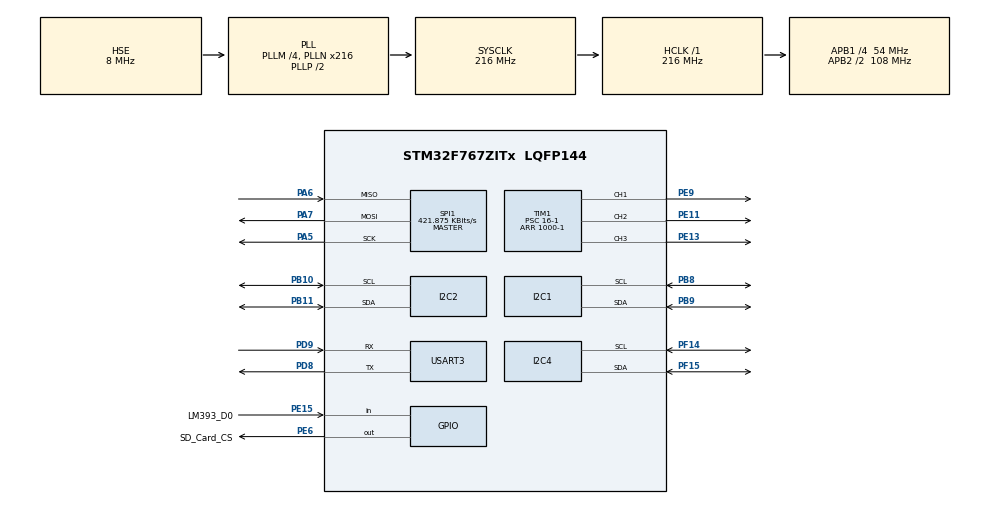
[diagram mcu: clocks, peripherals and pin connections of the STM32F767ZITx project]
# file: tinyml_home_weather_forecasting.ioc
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CORTEX_M7.CPU_DCache=Enabled
CORTEX_M7.CPU_ICache=Enabled
CORTEX_M7.default_mode_Activation=1
FATFS._FS_LOCK=10
FATFS._USE_LABEL=1
FATFS._USE_LFN=2
FATFS._USE_MKFS=0
FREERTOS.Tasks01=defaultTask,8,512,StartDefaultTask,Default,NULL,Dynamic,NULL,NULL
FREERTOS.configTOTAL_HEAP_SIZE=64000
FREERTOS.configUSE_NEWLIB_REENTRANT=1
Mcu.Family=STM32F7
Mcu.Name=STM32F767ZITx
Mcu.Package=LQFP144
NVIC.PriorityGroup=NVIC_PRIORITYGROUP_4
NVIC.TIM8_TRG_COM_TIM14_IRQn=true\:15\:0\:false\:false\:true\:false\:false\:true\:true
NVIC.TimeBase=TIM8_TRG_COM_TIM14_IRQn
NVIC.TimeBaseIP=TIM14
PA13.Mode=Trace_Asynchronous_SW
PA13.Signal=SYS_JTMS-SWDIO
PA14.Mode=Trace_Asynchronous_SW
PA14.Signal=SYS_JTCK-SWCLK
PA5.Mode=Full_Duplex_Master
PA5.Signal=SPI1_SCK
PA6.GPIO_PuPd=GPIO_NOPULL
PA6.Mode=Full_Duplex_Master
PA6.Signal=SPI1_MISO
PA7.GPIO_PuPd=GPIO_NOPULL
PA7.Mode=Full_Duplex_Master
PA7.Signal=SPI1_MOSI
PB10.GPIO_Pu=GPIO_PULLUP
PB10.Mode=I2C
PB10.Signal=I2C2_SCL
PB11.GPIO_Pu=GPIO_PULLUP
PB11.Mode=I2C
PB11.Signal=I2C2_SDA
PB3.Mode=Trace_Asynchronous_SW
PB3.Signal=SYS_JTDO-SWO
PB8.Mode=I2C
PB8.Signal=I2C1_SCL
PB9.Mode=I2C
PB9.Signal=I2C1_SDA
PD8.Mode=Asynchronous
PD8.Signal=USART3_TX
PD9.Mode=Asynchronous
PD9.Signal=USART3_RX
PE11.Signal=S_TIM1_CH2
PE13.Signal=S_TIM1_CH3
PE15.GPIO_Label=LM393_D0
PE15.GPIO_PuPd=GPIO_PULLUP
PE15.Signal=GPIO_Input
PE6.GPIO_Label=SD_Card_CS
PE6.GPIO_PuPd=GPIO_NOPULL
PE6.GPIO_Speed=GPIO_SPEED_FREQ_VERY_HIGH
PE6.PinState=GPIO_PIN_SET
PE6.Signal=GPIO_Output
PE9.Signal=S_TIM1_CH1
PF14.Mode=I2C
PF14.Signal=I2C4_SCL
PF15.Mode=I2C
PF15.Signal=I2C4_SDA
PH0/OSC_IN.Mode=HSE-External-Clock-Source
PH0/OSC_IN.Signal=RCC_OSC_IN
PH1/OSC_OUT.Mode=HSE-External-Clock-Source
PH1/OSC_OUT.Signal=RCC_OSC_OUT
ProjectManager.HeapSize=0x800
ProjectManager.StackSize=0x800
ProjectManager.TargetToolchain=STM32CubeIDE
RCC.AHBFreq_Value=216000000
RCC.APB1CLKDivider=RCC_HCLK_DIV4
RCC.APB1Freq_Value=54000000
RCC.APB1TimFreq_Value=108000000
RCC.APB2CLKDivider=RCC_HCLK_DIV2
RCC.APB2Freq_Value=108000000
RCC.APB2TimFreq_Value=216000000
RCC.CortexFreq_Value=216000000
RCC.HCLKFreq_Value=216000000
RCC.HSE_VALUE=8000000
RCC.HSI_VALUE=16000000
RCC.I2C2CLockSelection=RCC_I2C2CLKSOURCE_SYSCLK
RCC.LSE_VALUE=32768
RCC.PLLM=4
RCC.PLLMUL=RCC_PLL_MUL9
RCC.PLLN=216
RCC.PLLP=2
RCC.PLLQ=9
RCC.PLLSourceVirtual=RCC_PLLSOURCE_HSE
RCC.PRESCALERUSB=RCC_USBCLKSOURCE_PLL_DIV1_5
RCC.SYSCLKFreq_VALUE=216000000
RCC.SYSCLKSource=RCC_SYSCLKSOURCE_PLLCLK
RCC.SYSCLKSourceVirtual=RCC_SYSCLKSOURCE_PLLCLK
RCC.USART3CLockSelection=RCC_USART3CLKSOURCE_SYSCLK
RCC.USBFreq_Value=48000000
RCC.VCOOutputFreq_Value=432000000
SH.S_TIM1_CH1.0=TIM1_CH1,PWM Generation1 CH1
SH.S_TIM1_CH2.0=TIM1_CH2,PWM Generation2 CH2
SH.S_TIM1_CH3.0=TIM1_CH3,PWM Generation3 CH3
SPI1.BaudRatePrescaler=SPI_BAUDRATEPRESCALER_256
SPI1.CalculateBaudRate=421.875 KBits/s
SPI1.DataSize=SPI_DATASIZE_8BIT
SPI1.Direction=SPI_DIRECTION_2LINES
SPI1.Mode=SPI_MODE_MASTER
SPI1.NSSPMode=SPI_NSS_PULSE_DISABLE
SPI1.VirtualType=VM_MASTER
STMicroelectronics.X-CUBE-AI.10.2.0.ActivationBufferSizeList=103464
STMicroelectronics.X-CUBE-AI.10.2.0.ActivationBuffers=pool0
STMicroelectronics.X-CUBE-AI.10.2.0.ActivationNames=pool0
STMicroelectronics.X-CUBE-AI.10.2.0.ActivationSizes=AI_FORECAST_TEMP_ML_MODEL_DATA_ACTIVATION_1_SIZE
STMicroelectronics.X-CUBE-AI.10.2.0.ApplicationCcDeviceJjApplication=SystemPerformance
STMicroelectronics.X-CUBE-AI.10.2.0.BSP.number=1
STMicroelectronics.X-CUBE-AI.10.2.0.HeapSize=0x800
STMicroelectronics.X-CUBE-AI.10.2.0.InternalRamActivationBufferMaxSize=AI_FORECAST_TEMP_ML_MODEL_DATA_ACTIVATIONS_SIZE
STMicroelectronics.X-CUBE-AI.10.2.0.LatestDirectoryUsed-8fa4499bb6cfa54c7066293eff572c6baa89d575779c2dbfaff882bb4aa406b9=C\:\\Users\\rishi_latchmepersad\\Downloads
STMicroelectronics.X-CUBE-AI.10.2.0.MaximumNumberOfInputLayer=1
STMicroelectronics.X-CUBE-AI.10.2.0.MaximumNumberOfOutputLayer=1
STMicroelectronics.X-CUBE-AI.10.2.0.MaximumSizeOfInputLayer=1
STMicroelectronics.X-CUBE-AI.10.2.0.MaximumSizeOfOutputLayer=1
STMicroelectronics.X-CUBE-AI.10.2.0.ModelActualCompression-8fa4499bb6cfa54c7066293eff572c6baa89d575779c2dbfaff882bb4aa406b9=0.0
STMicroelectronics.X-CUBE-AI.10.2.0.ModelCompression-8fa4499bb6cfa54c7066293eff572c6baa89d575779c2dbfaff882bb4aa406b9=None
STMicroelectronics.X-CUBE-AI.10.2.0.ModelFlashOccupation-8fa4499bb6cfa54c7066293eff572c6baa89d575779c2dbfaff882bb4aa406b9=163403
STMicroelectronics.X-CUBE-AI.10.2.0.ModelHashList=8fa4499bb6cfa54c7066293eff572c6baa89d575779c2dbfaff882bb4aa406b9
STMicroelectronics.X-CUBE-AI.10.2.0.ModelKind-8fa4499bb6cfa54c7066293eff572c6baa89d575779c2dbfaff882bb4aa406b9=TFLITE
STMicroelectronics.X-CUBE-AI.10.2.0.ModelMacc-8fa4499bb6cfa54c7066293eff572c6baa89d575779c2dbfaff882bb4aa406b9=75264
STMicroelectronics.X-CUBE-AI.10.2.0.ModelName-8145f64e8d4409e3aa5cdaa2c8f8e1c10eb77500b3fe7191404a386f2e01525d=network
STMicroelectronics.X-CUBE-AI.10.2.0.ModelName-8fa4499bb6cfa54c7066293eff572c6baa89d575779c2dbfaff882bb4aa406b9=forecast_temp_ml_model
STMicroelectronics.X-CUBE-AI.10.2.0.ModelNameList=forecast_temp_ml_model
STMicroelectronics.X-CUBE-AI.10.2.0.ModelRamOccupation-8fa4499bb6cfa54c7066293eff572c6baa89d575779c2dbfaff882bb4aa406b9=103464
STMicroelectronics.X-CUBE-AI.10.2.0.ModelStructureFile-8fa4499bb6cfa54c7066293eff572c6baa89d575779c2dbfaff882bb4aa406b9=C\:\\Users\\rishi_latchmepersad\\Downloads\\ablation_rnn_int8.tflite
STMicroelectronics.X-CUBE-AI.10.2.0.ModelType-8fa4499bb6cfa54c7066293eff572c6baa89d575779c2dbfaff882bb4aa406b9=STM32Cube.AI MCU runtime
STMicroelectronics.X-CUBE-AI.10.2.0.ReadyForCodeGeneration=true
STMicroelectronics.X-CUBE-AI.10.2.0.StackSize=0x800
STMicroelectronics.X-CUBE-AI.10.2.0.WorkingBufferStartAddrList=0xFFFFFFFF
STMicroelectronics.X-CUBE-AI.10.2.0.XAaCUBEAaAICcArtificialOoIntelligenceJjCore=true
STMicroelectronics.X-CUBE-AI.10.2.0.copyWeightToRam=false
STMicroelectronics.X-CUBE-AI.10.2.0.copyWeightToRam-8fa4499bb6cfa54c7066293eff572c6baa89d575779c2dbfaff882bb4aa406b9=false
STMicroelectronics.X-CUBE-AI.10.2.0.customLayerConfigEnabled=false
STMicroelectronics.X-CUBE-AI.10.2.0.customLayerConfigEnabled-8fa4499bb6cfa54c7066293eff572c6baa89d575779c2dbfaff882bb4aa406b9=false
STMicroelectronics.X-CUBE-AI.10.2.0.noOnnxIoTranspose=false
STMicroelectronics.X-CUBE-AI.10.2.0.noOnnxIoTranspose-8fa4499bb6cfa54c7066293eff572c6baa89d575779c2dbfaff882bb4aa406b9=false
STMicroelectronics.X-CUBE-AI.10.2.0.useInputAllocation=true
STMicroelectronics.X-CUBE-AI.10.2.0.useInputAllocation-8fa4499bb6cfa54c7066293eff572c6baa89d575779c2dbfaff882bb4aa406b9=true
STMicroelectronics.X-CUBE-AI.10.2.0.useOutputAllocation=true
STMicroelectronics.X-CUBE-AI.10.2.0.useOutputAllocation-8fa4499bb6cfa54c7066293eff572c6baa89d575779c2dbfaff882bb4aa406b9=true
STMicroelectronics.X-CUBE-AI.10.2.00.BSP.STBoard=false
STMicroelectronics.X-CUBE-AI.10.2.00.BSP.api=Unknown
STMicroelectronics.X-CUBE-AI.10.2.00.BSP.condition=\!SEMDeviceJjApplicationJjApplicationTemplate
STMicroelectronics.X-CUBE-AI.10.2.00.BSP.instance=USART3
STMicroelectronics.X-CUBE-AI.10.2.00.BSP.ip=USART
STMicroelectronics.X-CUBE-AI.10.2.00.BSP.mode=Asynchronous
STMicroelectronics.X-CUBE-AI.10.2.00.BSP.name=COM Port
STMicroelectronics.X-CUBE-AI.10.2.00.BSP.solution=USART3
TIM1.AutoReloadPreload=TIM_AUTORELOAD_PRELOAD_ENABLE
TIM1.AutomaticOutput=TIM_AUTOMATICOUTPUT_ENABLE
TIM1.Channel-PWM\ Generation1\ CH1=TIM_CHANNEL_1
TIM1.Channel-PWM\ Generation2\ CH2=TIM_CHANNEL_2
TIM1.Channel-PWM\ Generation3\ CH3=TIM_CHANNEL_3
TIM1.Period=1000-1
TIM1.Prescaler=16-1
USART3.VirtualMode-Asynchronous=VM_ASYNC
VP_FATFS_VS_Generic.Mode=User_defined
VP_FREERTOS_VS_CMSIS_V2.Mode=CMSIS_V2
VP_STMicroelectronics.X-CUBE-AI_VS_ArtificialOoIntelligenceJjXAaCUBEAaAI_10.2.0.Mode=ArtificialOoIntelligenceJjXAaCUBEAaAI
VP_STMicroelectronics.X-CUBE-AI_VS_DeviceJjApplication_10.2.0.Mode=DeviceJjApplication
VP_SYS_VS_tim14.Mode=TIM14
VP_TIM1_VS_ClockSourceINT.Mode=Internal
board=custom

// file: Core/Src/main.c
/* USER CODE BEGIN Header */
/**
 ******************************************************************************
 * @file           : main.c
 * @brief          : Main program body
 ******************************************************************************
 * @attention
 *
 * Copyright (c) 2025 STMicroelectronics.
 * All rights reserved.
 *
 * This software is licensed under terms that can be found in the LICENSE file
 * in the root directory of this software component.
 * If no LICENSE file comes with this software, it is provided AS-IS.
 *
 ******************************************************************************
 */
/* USER CODE END Header */
#include "main.h"
#include "cmsis_os.h"
#include "fatfs.h"
#include "app_x-cube-ai.h"

/* USER CODE BEGIN Includes */
#include <stdio.h>
#include "bme280_task.h"
#include "bme280_defs.h"
#include "stdbool.h"
#include "string.h"
#include "sd_card.h"
#include "app_error.h"
#include "measurement_logger_task.h"
#include "inference_logger_task.h"
#include "debug_log.h"
#include "led_service.h"
#include "veml7700_task.h"
#include "lm393_task.h"
#include "forecast_temp_task.h"
#include "baseline_forecast_task.h"
/* USER CODE END Includes */

/* USER CODE BEGIN PD */
#define FS_LOCK()   osMutexAcquire(g_fs_mutex, osWaitForever)
#define FS_UNLOCK() osMutexRelease(g_fs_mutex)
#define LOG_PREFIX "[MAIN_TASK] "
/* USER CODE END PD */

I2C_HandleTypeDef hi2c1;
I2C_HandleTypeDef hi2c2;
I2C_HandleTypeDef hi2c4;

SPI_HandleTypeDef hspi1;

TIM_HandleTypeDef htim1;

UART_HandleTypeDef huart3;

/* Definitions for defaultTask */
osThreadId_t defaultTaskHandle;
const osThreadAttr_t defaultTask_attributes = {
  .name = "defaultTask",
  .stack_size = 512 * 4,
  .priority = (osPriority_t) osPriorityLow,
};
/* USER CODE BEGIN PV */
osThreadId_t bme280SensorTaskHandle;
const osThreadAttr_t bme280SensorTask_attributes = { .name = "bme280SensorTask",
		.stack_size = 256 * 4, .priority = (osPriority_t) osPriorityNormal, };
osMutexId_t printfMutexHandle;
osMutexId_t g_fs_mutex;
osMutexId_t g_i2c1_mutex;
/* USER CODE END PV */

void SystemClock_Config(void);
static void MPU_Config(void);
static void MX_GPIO_Init(void);
static void MX_I2C2_Init(void);
void MX_USART3_UART_Init(void);
static void MX_SPI1_Init(void);
static void MX_I2C1_Init(void);
static void MX_I2C4_Init(void);
static void MX_TIM1_Init(void);
void StartDefaultTask(void *argument);

/* USER CODE BEGIN PFP */
int _write(int fd, char *ptr, int len);
void Error_Handler_With_Message(const char *msg);
/* USER CODE END PFP */

/* USER CODE BEGIN 0 */

static inline uint32_t in_isr(void) {
	/* Nonzero if we're in an exception/ISR context */
	return (__get_IPSR() != 0U);
}

/* USER CODE END 0 */

int main(void)
{

  /* MPU Configuration--------------------------------------------------------*/
  MPU_Config();

  /* Enable the CPU Cache */

  /* Enable I-Cache---------------------------------------------------------*/
  SCB_EnableICache();

  /* Enable D-Cache---------------------------------------------------------*/
  SCB_EnableDCache();

  /* MCU Configuration--------------------------------------------------------*/

  /* Reset of all peripherals, Initializes the Flash interface and the Systick. */
  HAL_Init();

  /* Configure the system clock */
  SystemClock_Config();

  /* Initialize all configured peripherals */
  MX_GPIO_Init();
  MX_I2C2_Init();
  MX_USART3_UART_Init();
  MX_SPI1_Init();
  MX_FATFS_Init();
  MX_I2C1_Init();
  MX_I2C4_Init();
  MX_TIM1_Init();
  MX_X_CUBE_AI_Init();
  /* USER CODE BEGIN 2 */
	//(void) ds3231_set_time_from_components_utc_i2c1(2026, 03, 01, 15, 36, 30); // set the utc time for the DS3231
	led_service_rgb_board_init(&htim1, TIM_CHANNEL_1, TIM_CHANNEL_2,
	TIM_CHANNEL_3, false /* HW-479 = common-cathode */);
  /* USER CODE END 2 */

  /* Init scheduler */
  osKernelInitialize();

  /* USER CODE BEGIN RTOS_MUTEX */
	//set up the printfmutex to ensure that different tasks can print cleanly and share the usart3
	printfMutexHandle = osMutexNew(NULL);
	if (printfMutexHandle == NULL) {
		Error_Handler();
	}
	// a filesystem mutex to prevent concurrency issues in the SD card
	g_fs_mutex = osMutexNew(NULL);
	if (g_fs_mutex == NULL) {
		Error_Handler();
	}
	// serialize access to the I2C1 bus (used by the DS3231 RTC)
	g_i2c1_mutex = osMutexNew(NULL);
	if (g_i2c1_mutex == NULL) {
		Error_Handler();
	}
	(void) debug_log_init();
  /* USER CODE END RTOS_MUTEX */

  /* Create the thread(s) */
  /* creation of defaultTask */
  defaultTaskHandle = osThreadNew(StartDefaultTask, NULL, &defaultTask_attributes);

  /* USER CODE BEGIN RTOS_THREADS */
	/* add threads, ... */
	bme280SensorTaskHandle = osThreadNew(bme280SensorTask, NULL,
			&bme280SensorTask_attributes);
	(void) measurement_logger_task_create();
	(void) inference_logger_task_create();
	(void) led_service_init();
	(void) led_service_start(osPriorityLow1, 256 * 4);
	veml7700_start_task(&hi2c4, osPriorityNormal, 768u);
	lm393_init_and_start_task();
	// start the inference task so it can consume the cached sensor readings
	(void) forecast_temp_task_start();
	// start a seasonal-naive baseline task for side-by-side comparison with CNN forecasts
	(void) baseline_forecast_task_start();
  /* USER CODE END RTOS_THREADS */

  /* Start scheduler */
  osKernelStart();

  /* We should never get here as control is now taken by the scheduler */

  /* Infinite loop */
	while (1) {

	}
}

void SystemClock_Config(void)
{
  RCC_OscInitTypeDef RCC_OscInitStruct = {0};
  RCC_ClkInitTypeDef RCC_ClkInitStruct = {0};

  /** Configure the main internal regulator output voltage
  */
  __HAL_RCC_PWR_CLK_ENABLE();
  __HAL_PWR_VOLTAGESCALING_CONFIG(PWR_REGULATOR_VOLTAGE_SCALE1);

  /** Initializes the RCC Oscillators according to the specified parameters
  * in the RCC_OscInitTypeDef structure.
  */
  RCC_OscInitStruct.OscillatorType = RCC_OSCILLATORTYPE_HSE;
  RCC_OscInitStruct.HSEState = RCC_HSE_BYPASS;
  RCC_OscInitStruct.PLL.PLLState = RCC_PLL_ON;
  RCC_OscInitStruct.PLL.PLLSource = RCC_PLLSOURCE_HSE;
  RCC_OscInitStruct.PLL.PLLM = 4;
  RCC_OscInitStruct.PLL.PLLN = 216;
  RCC_OscInitStruct.PLL.PLLP = 2;
  RCC_OscInitStruct.PLL.PLLQ = 9;
  RCC_OscInitStruct.PLL.PLLR = 2;
  if (HAL_RCC_OscConfig(&RCC_OscInitStruct) != HAL_OK)
  {
    Error_Handler();
  }

  /** Activate the Over-Drive mode
  */
  if (HAL_PWREx_EnableOverDrive() != HAL_OK)
  {
    Error_Handler();
  }

  /** Initializes the CPU, AHB and APB buses clocks
  */
  RCC_ClkInitStruct.ClockType = RCC_CLOCKTYPE_HCLK|RCC_CLOCKTYPE_SYSCLK
                              |RCC_CLOCKTYPE_PCLK1|RCC_CLOCKTYPE_PCLK2;
  RCC_ClkInitStruct.SYSCLKSource = RCC_SYSCLKSOURCE_PLLCLK;
  RCC_ClkInitStruct.AHBCLKDivider = RCC_SYSCLK_DIV1;
  RCC_ClkInitStruct.APB1CLKDivider = RCC_HCLK_DIV4;
  RCC_ClkInitStruct.APB2CLKDivider = RCC_HCLK_DIV2;

  if (HAL_RCC_ClockConfig(&RCC_ClkInitStruct, FLASH_LATENCY_7) != HAL_OK)
  {
    Error_Handler();
  }
}

static void MX_I2C1_Init(void)
{

  hi2c1.Instance = I2C1;
  hi2c1.Init.Timing = 0x00303D5B;
  hi2c1.Init.OwnAddress1 = 0;
  hi2c1.Init.AddressingMode = I2C_ADDRESSINGMODE_7BIT;
  hi2c1.Init.DualAddressMode = I2C_DUALADDRESS_DISABLE;
  hi2c1.Init.OwnAddress2 = 0;
  hi2c1.Init.OwnAddress2Masks = I2C_OA2_NOMASK;
  hi2c1.Init.GeneralCallMode = I2C_GENERALCALL_DISABLE;
  hi2c1.Init.NoStretchMode = I2C_NOSTRETCH_DISABLE;
  if (HAL_I2C_Init(&hi2c1) != HAL_OK)
  {
    Error_Handler();
  }

  /** Configure Analogue filter
  */
  if (HAL_I2CEx_ConfigAnalogFilter(&hi2c1, I2C_ANALOGFILTER_ENABLE) != HAL_OK)
  {
    Error_Handler();
  }

  /** Configure Digital filter
  */
  if (HAL_I2CEx_ConfigDigitalFilter(&hi2c1, 0) != HAL_OK)
  {
    Error_Handler();
  }

}

static void MX_I2C2_Init(void)
{

  hi2c2.Instance = I2C2;
  hi2c2.Init.Timing = 0x00303D5B;
  hi2c2.Init.OwnAddress1 = 0;
  hi2c2.Init.AddressingMode = I2C_ADDRESSINGMODE_7BIT;
  hi2c2.Init.DualAddressMode = I2C_DUALADDRESS_DISABLE;
  hi2c2.Init.OwnAddress2 = 0;
  hi2c2.Init.OwnAddress2Masks = I2C_OA2_NOMASK;
  hi2c2.Init.GeneralCallMode = I2C_GENERALCALL_DISABLE;
  hi2c2.Init.NoStretchMode = I2C_NOSTRETCH_DISABLE;
  if (HAL_I2C_Init(&hi2c2) != HAL_OK)
  {
    Error_Handler();
  }

  /** Configure Analogue filter
  */
  if (HAL_I2CEx_ConfigAnalogFilter(&hi2c2, I2C_ANALOGFILTER_ENABLE) != HAL_OK)
  {
    Error_Handler();
  }

  /** Configure Digital filter
  */
  if (HAL_I2CEx_ConfigDigitalFilter(&hi2c2, 0) != HAL_OK)
  {
    Error_Handler();
  }

}

static void MX_I2C4_Init(void)
{

  hi2c4.Instance = I2C4;
  hi2c4.Init.Timing = 0x00303D5B;
  hi2c4.Init.OwnAddress1 = 0;
  hi2c4.Init.AddressingMode = I2C_ADDRESSINGMODE_7BIT;
  hi2c4.Init.DualAddressMode = I2C_DUALADDRESS_DISABLE;
  hi2c4.Init.OwnAddress2 = 0;
  hi2c4.Init.OwnAddress2Masks = I2C_OA2_NOMASK;
  hi2c4.Init.GeneralCallMode = I2C_GENERALCALL_DISABLE;
  hi2c4.Init.NoStretchMode = I2C_NOSTRETCH_DISABLE;
  if (HAL_I2C_Init(&hi2c4) != HAL_OK)
  {
    Error_Handler();
  }

  /** Configure Analogue filter
  */
  if (HAL_I2CEx_ConfigAnalogFilter(&hi2c4, I2C_ANALOGFILTER_ENABLE) != HAL_OK)
  {
    Error_Handler();
  }

  /** Configure Digital filter
  */
  if (HAL_I2CEx_ConfigDigitalFilter(&hi2c4, 0) != HAL_OK)
  {
    Error_Handler();
  }

}

static void MX_SPI1_Init(void)
{

  /* SPI1 parameter configuration*/
  hspi1.Instance = SPI1;
  hspi1.Init.Mode = SPI_MODE_MASTER;
  hspi1.Init.Direction = SPI_DIRECTION_2LINES;
  hspi1.Init.DataSize = SPI_DATASIZE_8BIT;
  hspi1.Init.CLKPolarity = SPI_POLARITY_LOW;
  hspi1.Init.CLKPhase = SPI_PHASE_1EDGE;
  hspi1.Init.NSS = SPI_NSS_SOFT;
  hspi1.Init.BaudRatePrescaler = SPI_BAUDRATEPRESCALER_256;
  hspi1.Init.FirstBit = SPI_FIRSTBIT_MSB;
  hspi1.Init.TIMode = SPI_TIMODE_DISABLE;
  hspi1.Init.CRCCalculation = SPI_CRCCALCULATION_DISABLE;
  hspi1.Init.CRCPolynomial = 7;
  hspi1.Init.CRCLength = SPI_CRC_LENGTH_DATASIZE;
  hspi1.Init.NSSPMode = SPI_NSS_PULSE_DISABLE;
  if (HAL_SPI_Init(&hspi1) != HAL_OK)
  {
    Error_Handler();
  }

}

static void MX_TIM1_Init(void)
{

  TIM_ClockConfigTypeDef sClockSourceConfig = {0};
  TIM_MasterConfigTypeDef sMasterConfig = {0};
  TIM_OC_InitTypeDef sConfigOC = {0};
  TIM_BreakDeadTimeConfigTypeDef sBreakDeadTimeConfig = {0};

  htim1.Instance = TIM1;
  htim1.Init.Prescaler = 16-1;
  htim1.Init.CounterMode = TIM_COUNTERMODE_UP;
  htim1.Init.Period = 1000-1;
  htim1.Init.ClockDivision = TIM_CLOCKDIVISION_DIV1;
  htim1.Init.RepetitionCounter = 0;
  htim1.Init.AutoReloadPreload = TIM_AUTORELOAD_PRELOAD_ENABLE;
  if (HAL_TIM_Base_Init(&htim1) != HAL_OK)
  {
    Error_Handler();
  }
  sClockSourceConfig.ClockSource = TIM_CLOCKSOURCE_INTERNAL;
  if (HAL_TIM_ConfigClockSource(&htim1, &sClockSourceConfig) != HAL_OK)
  {
    Error_Handler();
  }
  if (HAL_TIM_PWM_Init(&htim1) != HAL_OK)
  {
    Error_Handler();
  }
  sMasterConfig.MasterOutputTrigger = TIM_TRGO_RESET;
  sMasterConfig.MasterOutputTrigger2 = TIM_TRGO2_RESET;
  sMasterConfig.MasterSlaveMode = TIM_MASTERSLAVEMODE_DISABLE;
  if (HAL_TIMEx_MasterConfigSynchronization(&htim1, &sMasterConfig) != HAL_OK)
  {
    Error_Handler();
  }
  sConfigOC.OCMode = TIM_OCMODE_PWM1;
  sConfigOC.Pulse = 0;
  sConfigOC.OCPolarity = TIM_OCPOLARITY_HIGH;
  sConfigOC.OCNPolarity = TIM_OCNPOLARITY_HIGH;
  sConfigOC.OCFastMode = TIM_OCFAST_DISABLE;
  sConfigOC.OCIdleState = TIM_OCIDLESTATE_RESET;
  sConfigOC.OCNIdleState = TIM_OCNIDLESTATE_RESET;
  if (HAL_TIM_PWM_ConfigChannel(&htim1, &sConfigOC, TIM_CHANNEL_1) != HAL_OK)
  {
    Error_Handler();
  }
  if (HAL_TIM_PWM_ConfigChannel(&htim1, &sConfigOC, TIM_CHANNEL_2) != HAL_OK)
  {
    Error_Handler();
  }
  if (HAL_TIM_PWM_ConfigChannel(&htim1, &sConfigOC, TIM_CHANNEL_3) != HAL_OK)
  {
    Error_Handler();
  }
  sBreakDeadTimeConfig.OffStateRunMode = TIM_OSSR_DISABLE;
  sBreakDeadTimeConfig.OffStateIDLEMode = TIM_OSSI_DISABLE;
  sBreakDeadTimeConfig.LockLevel = TIM_LOCKLEVEL_OFF;
  sBreakDeadTimeConfig.DeadTime = 0;
  sBreakDeadTimeConfig.BreakState = TIM_BREAK_DISABLE;
  sBreakDeadTimeConfig.BreakPolarity = TIM_BREAKPOLARITY_HIGH;
  sBreakDeadTimeConfig.BreakFilter = 0;
  sBreakDeadTimeConfig.Break2State = TIM_BREAK2_DISABLE;
  sBreakDeadTimeConfig.Break2Polarity = TIM_BREAK2POLARITY_HIGH;
  sBreakDeadTimeConfig.Break2Filter = 0;
  sBreakDeadTimeConfig.AutomaticOutput = TIM_AUTOMATICOUTPUT_ENABLE;
  if (HAL_TIMEx_ConfigBreakDeadTime(&htim1, &sBreakDeadTimeConfig) != HAL_OK)
  {
    Error_Handler();
  }
  HAL_TIM_MspPostInit(&htim1);

}

void MX_USART3_UART_Init(void)
{

  huart3.Instance = USART3;
  huart3.Init.BaudRate = 115200;
  huart3.Init.WordLength = UART_WORDLENGTH_8B;
  huart3.Init.StopBits = UART_STOPBITS_1;
  huart3.Init.Parity = UART_PARITY_NONE;
  huart3.Init.Mode = UART_MODE_TX_RX;
  huart3.Init.HwFlowCtl = UART_HWCONTROL_NONE;
  huart3.Init.OverSampling = UART_OVERSAMPLING_16;
  huart3.Init.OneBitSampling = UART_ONE_BIT_SAMPLE_DISABLE;
  huart3.AdvancedInit.AdvFeatureInit = UART_ADVFEATURE_NO_INIT;
  if (HAL_UART_Init(&huart3) != HAL_OK)
  {
    Error_Handler();
  }

}

static void MX_GPIO_Init(void)
{
  GPIO_InitTypeDef GPIO_InitStruct = {0};

  /* GPIO Ports Clock Enable */
  __HAL_RCC_GPIOE_CLK_ENABLE();
  __HAL_RCC_GPIOH_CLK_ENABLE();
  __HAL_RCC_GPIOA_CLK_ENABLE();
  __HAL_RCC_GPIOF_CLK_ENABLE();
  __HAL_RCC_GPIOB_CLK_ENABLE();
  __HAL_RCC_GPIOD_CLK_ENABLE();

  /*Configure GPIO pin Output Level */
  HAL_GPIO_WritePin(SD_Card_CS_GPIO_Port, SD_Card_CS_Pin, GPIO_PIN_SET);

  /*Configure GPIO pin : SD_Card_CS_Pin */
  GPIO_InitStruct.Pin = SD_Card_CS_Pin;
  GPIO_InitStruct.Mode = GPIO_MODE_OUTPUT_PP;
  GPIO_InitStruct.Pull = GPIO_NOPULL;
  GPIO_InitStruct.Speed = GPIO_SPEED_FREQ_VERY_HIGH;
  HAL_GPIO_Init(SD_Card_CS_GPIO_Port, &GPIO_InitStruct);

  /*Configure GPIO pin : LM393_D0_Pin */
  GPIO_InitStruct.Pin = LM393_D0_Pin;
  GPIO_InitStruct.Mode = GPIO_MODE_INPUT;
  GPIO_InitStruct.Pull = GPIO_PULLUP;
  HAL_GPIO_Init(LM393_D0_GPIO_Port, &GPIO_InitStruct);

}

void StartDefaultTask(void *argument)
{
  /* USER CODE BEGIN 5 */
	while (1) {
		printf(LOG_PREFIX "The default task is alive.\r\n");
		osDelay(10000);
	}
  /* USER CODE END 5 */
}

 /* MPU Configuration */

void MPU_Config(void)
{
  MPU_Region_InitTypeDef MPU_InitStruct = {0};

  /* Disables the MPU */
  HAL_MPU_Disable();

  /** Initializes and configures the Region and the memory to be protected
  */
  MPU_InitStruct.Enable = MPU_REGION_ENABLE;
  MPU_InitStruct.Number = MPU_REGION_NUMBER0;
  MPU_InitStruct.BaseAddress = 0x0;
  MPU_InitStruct.Size = MPU_REGION_SIZE_4GB;
  MPU_InitStruct.SubRegionDisable = 0x87;
  MPU_InitStruct.TypeExtField = MPU_TEX_LEVEL0;
  MPU_InitStruct.AccessPermission = MPU_REGION_NO_ACCESS;
  MPU_InitStruct.DisableExec = MPU_INSTRUCTION_ACCESS_DISABLE;
  MPU_InitStruct.IsShareable = MPU_ACCESS_SHAREABLE;
  MPU_InitStruct.IsCacheable = MPU_ACCESS_NOT_CACHEABLE;
  MPU_InitStruct.IsBufferable = MPU_ACCESS_NOT_BUFFERABLE;

  HAL_MPU_ConfigRegion(&MPU_InitStruct);
  /* Enables the MPU */
  HAL_MPU_Enable(MPU_PRIVILEGED_DEFAULT);

}

void HAL_TIM_PeriodElapsedCallback(TIM_HandleTypeDef *htim)
{
  if (htim->Instance == TIM14)
  {
    HAL_IncTick();
  }
}

void Error_Handler(void)
{
  /* USER CODE BEGIN Error_Handler_Debug */
	printf(LOG_PREFIX "\r\n[ERROR] %s\r\n", ERROR_DEFAULT_MSG);
	fflush(stdout);

	//light up the LED;
	error_indicator_red_led_solid_on();
	if (__get_IPSR() == 0U) {
		HAL_Delay(5000);
	}

	__DSB();
	__ISB();
	NVIC_SystemReset();
	/* User can add his own implementation to report the HAL error return state */
	__disable_irq();
	while (1) {
	}
  /* USER CODE END Error_Handler_Debug */
}

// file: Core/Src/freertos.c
/* USER CODE BEGIN Header */
/**
  ******************************************************************************
  * File Name          : freertos.c
  * Description        : Code for freertos applications
  ******************************************************************************
  * @attention
  *
  * Copyright (c) 2025 STMicroelectronics.
  * All rights reserved.
  *
  * This software is licensed under terms that can be found in the LICENSE file
  * in the root directory of this software component.
  * If no LICENSE file comes with this software, it is provided AS-IS.
  *
  ******************************************************************************
  */
/* USER CODE END Header */

#include "FreeRTOS.h"
#include "task.h"
#include "main.h"

/* USER CODE BEGIN Includes */
#include <stdio.h>
#include "app_error.h"

/* USER CODE END Includes */

/* USER CODE BEGIN Application */

void vApplicationStackOverflowHook(TaskHandle_t xTask, char *pcTaskName)
{
  (void)xTask;
  /* Stack overflow is fatal; report the offending task and halt so it is obvious on the serial console. */
  printf("[FREERTOS] Stack overflow detected in task '%s'\r\n",
         (pcTaskName != NULL) ? pcTaskName : "<unknown>");
  error_indicator_red_led_solid_on();

  taskDISABLE_INTERRUPTS();
  for(;;) {
  }
}

/* USER CODE END Application */
